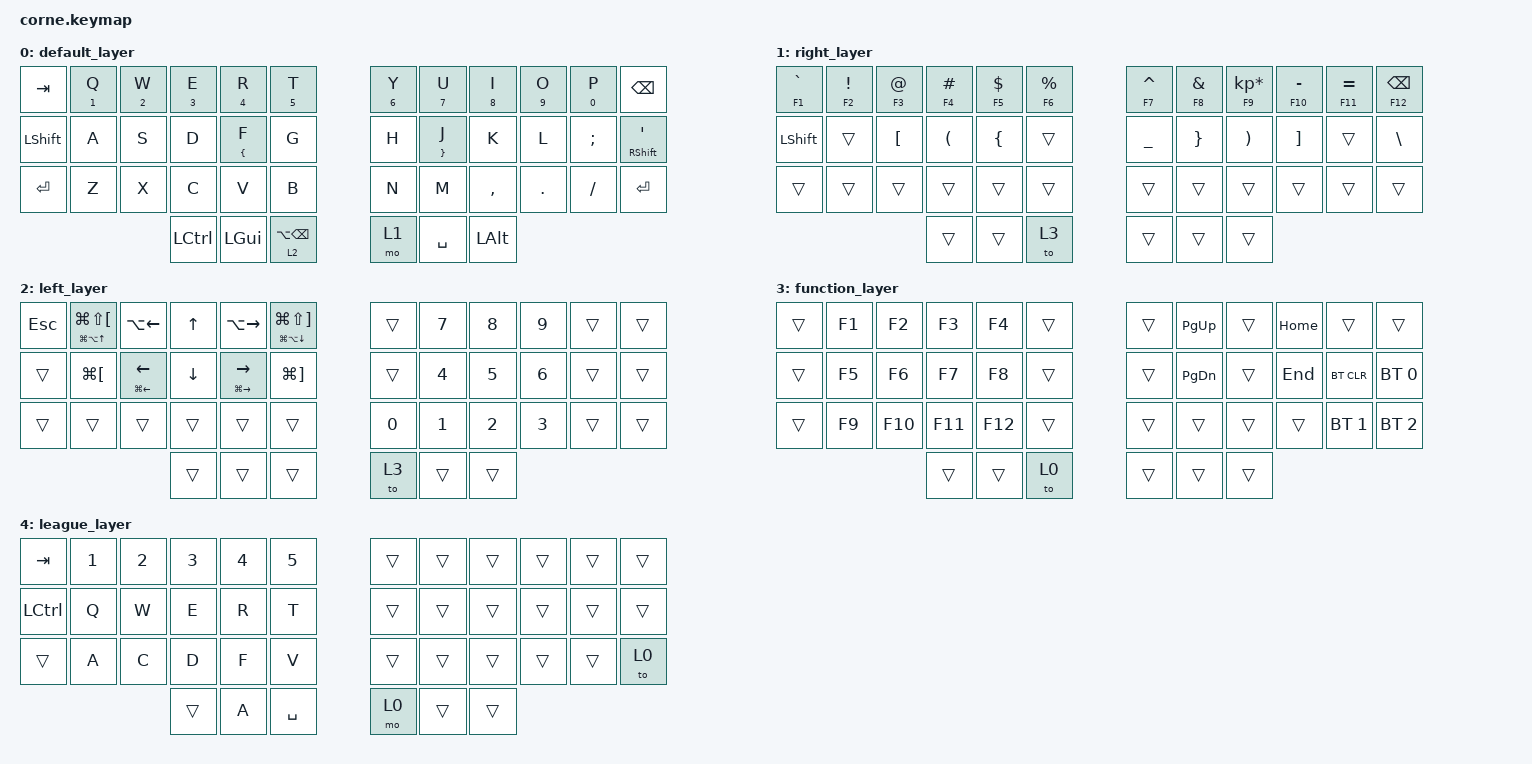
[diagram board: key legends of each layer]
/*
 * Copyright (c) 2020 The ZMK Contributors
 *
 * SPDX-License-Identifier: MIT
 */

#include <behaviors.dtsi>
#include <dt-bindings/zmk/bt.h>
#include <dt-bindings/zmk/keys.h>

/ {
    combos {
        compatible = "zmk,combos";

        league {
            bindings = <&to 3>;
            key-positions = <14 15 16>;
        };
    };

    behaviors {
        ht: hold_tap {
            label = "hold_tap";
            compatible = "zmk,behavior-hold-tap";
            flavor = "tap-preferred";
            tapping-term-ms = <220>;
            quick-tap-ms = <150>;
            bindings = <&kp>, <&kp>;

            #binding-cells = <2>;
            require-prior-idle-ms = <50>;
        };
    };

    keymap {
        compatible = "zmk,keymap";

        default_layer {
            // -----------------------------------------------------------------------------------------
            // |  TAB |  Q  |  W  |  E  |  R  |  T  |   |  Y  |  U   |  I  |  O  |  P  | BKSP |
            // | CTRL |  A  |  S  |  D  |  F  |  G  |   |  H  |  J   |  K  |  L  |  ;  |  '   |
            // | SHFT |  Z  |  X  |  C  |  V  |  B  |   |  N  |  M   |  ,  |  .  |  /  | ESC  |
            //                    | GUI | LWR | SPC |   | ENT | RSE  | ALT |

            bindings = <
&kp TAB         &ht N1 Q  &ht N2 W  &ht N3 E          &ht N4 R          &ht N5 T               &ht N6 Y  &ht N7 U           &ht N8 I      &ht N9 O  &ht N0 P  &kp BACKSPACE
&kp LEFT_SHIFT  &kp A     &kp S     &kp D             &ht LEFT_BRACE F  &kp G                  &kp H     &ht RIGHT_BRACE J  &kp K         &kp L     &kp SEMI  &mt RIGHT_SHIFT SINGLE_QUOTE
&kp ENTER       &kp Z     &kp X     &kp C             &kp V             &kp B                  &kp N     &kp M              &kp COMMA     &kp DOT   &kp FSLH  &kp ENTER
                                    &kp LEFT_CONTROL  &kp LEFT_GUI      &lt 2 LA(BACKSPACE)    &mo 1     &kp SPACE          &kp LEFT_ALT
            >;
        };

        right_layer {
            // -----------------------------------------------------------------------------------------
            // |  TAB |  !  |  @  |  #  |  $  |  %  |   |  ^  |  &  |  *  |  (  |  )  | BKSP |
            // | CTRL |     |     |     |     |     |   |  -  |  =  |  [  |  ]  |  \  |  `   |
            // | SHFT |     |     |     |     |     |   |  _  |  +  |  {  |  }  | "|" |  ~   |
            //                    | GUI |     | SPC |   | ENT |     | ALT |

            bindings = <
&ht F1 GRAVE    &ht F2 EXCL  &ht F3 AT  &ht F4 HASH           &ht F5 DLLR     &ht F6 PRCNT    &ht F7 CARET    &ht F8 AMPS      &ht F9 KP_MULTIPLY     &ht F10 MINUS  &ht F11 EQUAL  &ht F12 BACKSPACE
&kp LEFT_SHIFT  &trans       &kp LBKT   &kp LEFT_PARENTHESIS  &kp LEFT_BRACE  &trans          &kp UNDERSCORE  &kp RIGHT_BRACE  &kp RIGHT_PARENTHESIS  &kp RBKT       &trans         &kp BACKSLASH
&trans          &trans       &trans     &trans                &trans          &trans          &trans          &trans           &trans                 &trans         &trans         &trans
                                        &trans                &trans          &to 3           &trans          &trans           &trans
            >;
        };

        left_layer {
            // -----------------------------------------------------------------------------------------
            // |  TAB |  1  |  2  |  3  |  4  |  5  |   |  6  |  7  |  8  |  9  |  0  | BKSP |
            // | BTCLR| BT1 | BT2 | BT3 | BT4 | BT5 |   | LFT | DWN |  UP | RGT |     |      |
            // | SHFT |     |     |     |     |     |   |     |     |     |     |     |      |
            //                    | GUI |     | SPC |   | ENT |     | ALT |

            bindings = <
&kp ESCAPE  &mt LG(LA(UP_ARROW)) LG(LS(LEFT_BRACKET))  &kp LA(LEFT)                   &kp UP    &kp LA(RIGHT)        &mt LG(LA(DOWN)) LG(LS(RIGHT_BRACKET))    &trans  &kp N7  &kp N8  &kp N9  &trans  &trans
&trans      &kp LG(LEFT_BRACKET)                       &ht LG(LEFT_ARROW) LEFT_ARROW  &kp DOWN  &ht LG(RIGHT) RIGHT  &kp LG(RIGHT_BRACKET)                     &trans  &kp N4  &kp N5  &kp N6  &trans  &trans
&trans      &trans                                     &trans                         &trans    &trans               &trans                                    &kp N0  &kp N1  &kp N2  &kp N3  &trans  &trans
                                                                                      &trans    &trans               &trans                                    &to 3   &trans  &trans
            >;
        };

        function_layer {
            bindings = <
&trans  &kp F1  &kp F2   &kp F3   &kp F4   &trans    &trans  &kp PAGE_UP    &trans  &kp HOME  &trans        &trans
&trans  &kp F5  &kp F6   &kp F7   &kp F8   &trans    &trans  &kp PAGE_DOWN  &trans  &kp END   &bt BT_CLR    &bt BT_SEL 0
&trans  &kp F9  &kp F10  &kp F11  &kp F12  &trans    &trans  &trans         &trans  &trans    &bt BT_SEL 1  &bt BT_SEL 2
                         &trans   &trans   &to 0     &trans  &trans         &trans
            >;
        };

        league_layer {
            bindings = <
&kp TAB           &kp N1  &kp N2  &kp N3  &kp N4  &kp N5       &trans  &trans  &trans  &trans  &trans  &trans
&kp LEFT_CONTROL  &kp Q   &kp W   &kp E   &kp R   &kp T        &trans  &trans  &trans  &trans  &trans  &trans
&trans            &kp A   &kp C   &kp D   &kp F   &kp V        &trans  &trans  &trans  &trans  &trans  &to 0
                                  &trans  &kp A   &kp SPACE    &mo 0   &trans  &trans
            >;
        };
    };
};
